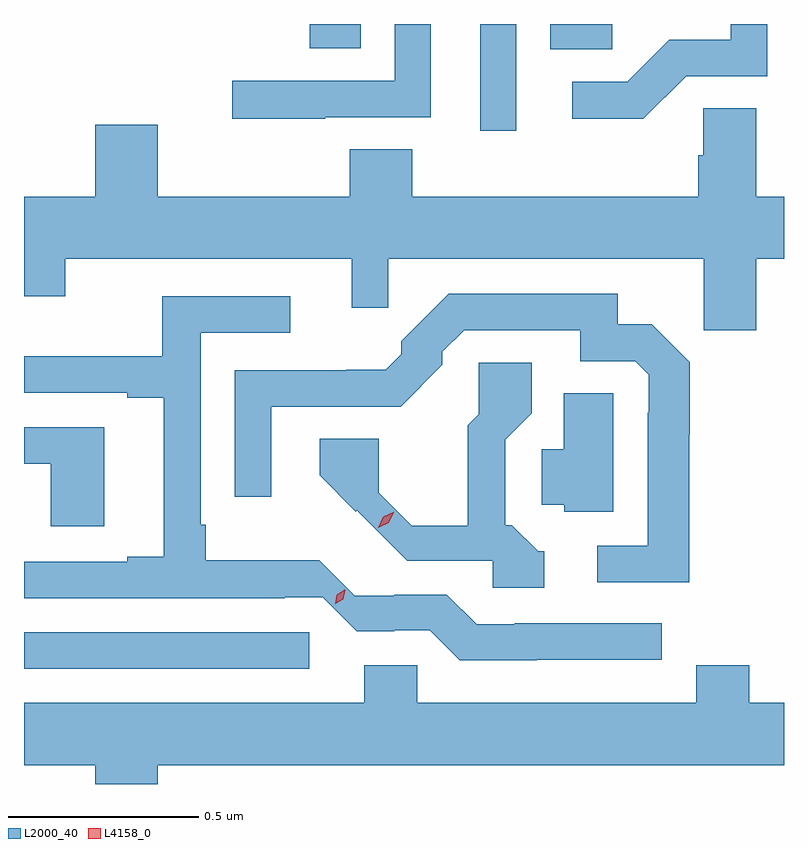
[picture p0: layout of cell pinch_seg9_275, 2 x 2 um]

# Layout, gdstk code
import gdstk
lib = gdstk.Library(unit=1e-6, precision=1e-09)
def R(c, l, rs):  # rectangles x0, y0, x1, y1
    for r in rs: c.add(gdstk.rectangle(r[:2], r[2:], *l))
def P(c, l, *ps):  # polygons
    for p in ps: c.add(gdstk.Polygon(p, *l))
L2000_40 = (2000, 40)
L4158_0 = (4158, 0)

pinch_seg9_275 = lib.new_cell('pinch_seg9_275')
R(pinch_seg9_275, L2000_40, [(512.472,1207.329,513.222,1207.425), (513.672,1208.745,513.768,1209.026), (513.857,1208.96,514.02,1209.026), (513.224,1208.962,513.358,1209.026)])
P(pinch_seg9_275, L2000_40, [(514.215,1208.889),(514.428,1208.889),(514.428,1209.026),(514.332,1209.026),(514.332,1208.985),(514.17,1208.985),(514.059,1208.874),(513.915,1208.874),(513.915,1208.777),(514.102,1208.777)],
  [(513.265,1208.781),(513.543,1208.781),(513.543,1209.026),(513.447,1209.026),(513.447,1208.877),(513.02,1208.877),(513.02,1208.777),(513.265,1208.777)],
  [(514.399,1208.408),(514.472,1208.408),(514.472,1208.572),(514.399,1208.572),(514.399,1208.804),(514.26,1208.804),(514.26,1208.681),(514.246,1208.681),(514.246,1208.572),(513.494,1208.572),(513.494,1208.696),(513.329,1208.696),(513.329,1208.572),(512.824,1208.572),(512.824,1208.761),(512.66,1208.761),(512.66,1208.572),(512.472,1208.572),(512.472,1208.309),(512.581,1208.309),(512.581,1208.408),(513.335,1208.408),(513.335,1208.279),(513.431,1208.279),(513.431,1208.408),(514.261,1208.408),(514.261,1208.22),(514.399,1208.22)],
  [(514.222,1207.945),(514.224,1207.945),(514.224,1208.136),(514.124,1208.236),(514.035,1208.236),(514.035,1208.316),(513.59,1208.316),(513.465,1208.191),(513.465,1208.157),(513.424,1208.116),(513.32,1208.116),(513.32,1208.115),(513.027,1208.115),(513.027,1207.782),(513.123,1207.782),(513.123,1208.019),(513.463,1208.019),(513.573,1208.129),(513.573,1208.163),(513.63,1208.22),(513.936,1208.22),(513.936,1208.139),(514.08,1208.139),(514.116,1208.103),(514.116,1208.003),(514.113,1208.003),(514.113,1207.653),(513.981,1207.653),(513.981,1207.557),(514.222,1207.557)],
  [(513.821,1207.353),(514.15,1207.353),(514.15,1207.449),(513.763,1207.449),(513.763,1207.446),(513.663,1207.446),(513.585,1207.524),(513.446,1207.524),(513.446,1207.521),(513.342,1207.521),(513.249,1207.615),(512.95,1207.615),(512.95,1207.708),(512.937,1207.708),(512.937,1208.214),(513.172,1208.214),(513.172,1208.31),(512.836,1208.31),(512.836,1208.152),(512.472,1208.152),(512.472,1208.055),(512.744,1208.055),(512.744,1208.043),(512.84,1208.043),(512.84,1207.624),(512.744,1207.624),(512.744,1207.611),(512.472,1207.611),(512.472,1207.515),(513.158,1207.515),(513.158,1207.518),(513.258,1207.518),(513.348,1207.428),(513.446,1207.428),(513.446,1207.431),(513.54,1207.431),(513.619,1207.352),(513.821,1207.352)],
  [(513.841,1207.638),(513.825,1207.638),(513.756,1207.707),(513.738,1207.707),(513.738,1207.932),(513.808,1208.002),(513.808,1208.134),(513.669,1208.134),(513.669,1207.999),(513.64,1207.97),(513.64,1207.706),(513.492,1207.706),(513.405,1207.793),(513.405,1207.934),(513.25,1207.934),(513.25,1207.838),(513.345,1207.743),(513.348,1207.746),(513.48,1207.614),(513.705,1207.614),(513.705,1207.542),(513.841,1207.542)],
  [(514.023,1208.054),(513.893,1208.054),(513.893,1207.907),(513.834,1207.907),(513.834,1207.761),(513.894,1207.761),(513.894,1207.742),(514.023,1207.742)],
  [(512.683,1207.965),(512.472,1207.965),(512.472,1207.869),(512.543,1207.869),(512.543,1207.704),(512.683,1207.704)],
  [(512.824,1207.076),(514.472,1207.076),(514.472,1207.24),(514.381,1207.24),(514.381,1207.339),(514.241,1207.339),(514.241,1207.24),(513.507,1207.24),(513.507,1207.338),(513.368,1207.338),(513.368,1207.24),(512.472,1207.24),(512.472,1207.076),(512.66,1207.076),(512.66,1207.026),(512.824,1207.026)])
P(pinch_seg9_275, L4158_0, [(513.291,1207.499),(513.291,1207.5),(513.295,1207.524),(513.316,1207.537),(513.317,1207.537),(513.317,1207.537),(513.312,1207.512),(513.291,1207.5)],
  [(513.404,1207.701),(513.404,1207.701),(513.418,1207.729),(513.446,1207.742),(513.446,1207.742),(513.446,1207.742),(513.432,1207.714),(513.404,1207.701)])

lib.write_gds('pinch_seg9_275.gds')
